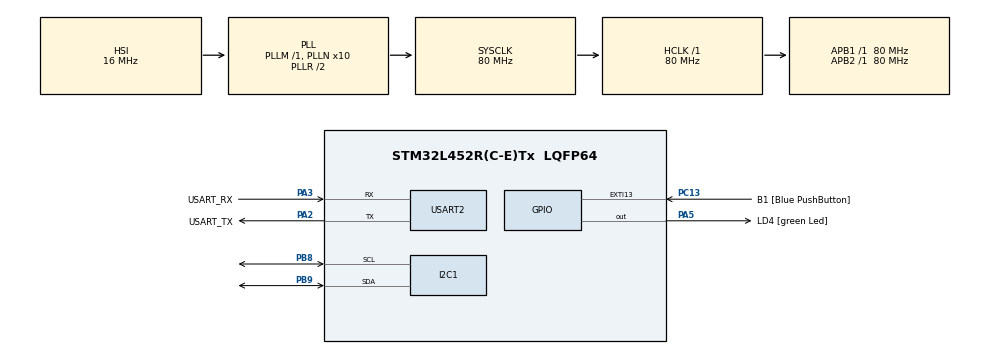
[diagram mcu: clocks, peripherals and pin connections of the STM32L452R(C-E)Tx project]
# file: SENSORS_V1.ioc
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Mcu.Family=STM32L4
Mcu.Name=STM32L452R(C-E)Tx
Mcu.Package=LQFP64
NVIC.PriorityGroup=NVIC_PRIORITYGROUP_4
PA13\ (JTMS/SWDIO).GPIO_Label=TMS
PA13\ (JTMS/SWDIO).Mode=Serial_Wire
PA13\ (JTMS/SWDIO).Signal=SYS_JTMS-SWDIO
PA14\ (JTCK/SWCLK).GPIO_Label=TCK
PA14\ (JTCK/SWCLK).Mode=Serial_Wire
PA14\ (JTCK/SWCLK).Signal=SYS_JTCK-SWCLK
PA2.GPIO_Label=USART_TX
PA2.GPIO_Mode=GPIO_MODE_AF_PP
PA2.GPIO_PuPd=GPIO_NOPULL
PA2.GPIO_Speed=GPIO_SPEED_FREQ_VERY_HIGH
PA2.Mode=Asynchronous
PA2.Signal=USART2_TX
PA3.GPIO_Label=USART_RX
PA3.GPIO_Mode=GPIO_MODE_AF_PP
PA3.GPIO_PuPd=GPIO_NOPULL
PA3.GPIO_Speed=GPIO_SPEED_FREQ_VERY_HIGH
PA3.Mode=Asynchronous
PA3.Signal=USART2_RX
PA5.GPIO_Label=LD4 [green Led]
PA5.GPIO_ModeDefaultOutputPP=GPIO_MODE_OUTPUT_PP
PA5.GPIO_PuPd=GPIO_NOPULL
PA5.GPIO_Speed=GPIO_SPEED_FREQ_LOW
PA5.Signal=GPIO_Output
PB3\ (JTDO/TRACESWO).GPIO_Label=SWO
PB3\ (JTDO/TRACESWO).Signal=SYS_JTDO-SWO
PB8.Mode=I2C
PB8.Signal=I2C1_SCL
PB9.Mode=I2C
PB9.Signal=I2C1_SDA
PC13.GPIO_Label=B1 [Blue PushButton]
PC13.GPIO_ModeDefaultEXTI=GPIO_MODE_IT_FALLING
PC13.GPIO_PuPd=GPIO_NOPULL
PC13.Signal=GPXTI13
PC14-OSC32_IN\ (PC14).Mode=LSE-External-Oscillator
PC14-OSC32_IN\ (PC14).Signal=RCC_OSC32_IN
PC15-OSC32_OUT\ (PC15).Mode=LSE-External-Oscillator
PC15-OSC32_OUT\ (PC15).Signal=RCC_OSC32_OUT
PH0-OSC_IN\ (PH0).Signal=RCC_OSC_IN
PH1-OSC_OUT\ (PH1).Signal=RCC_OSC_OUT
ProjectManager.HeapSize=0x200
ProjectManager.StackSize=0x400
ProjectManager.TargetToolchain=TrueSTUDIO
RCC.ADCFreq_Value=64000000
RCC.AHBFreq_Value=80000000
RCC.APB1Freq_Value=80000000
RCC.APB1TimFreq_Value=80000000
RCC.APB2Freq_Value=80000000
RCC.APB2TimFreq_Value=80000000
RCC.CortexFreq_Value=80000000
RCC.HCLKFreq_Value=80000000
RCC.HSE_VALUE=8000000
RCC.HSI48_VALUE=48000000
RCC.HSI_VALUE=16000000
RCC.MSI_VALUE=4000000
RCC.PLLN=10
RCC.PLLSourceVirtual=RCC_PLLSOURCE_HSI
RCC.PREFETCH_ENABLE=1
RCC.SYSCLKFreq_VALUE=80000000
RCC.SYSCLKSource=RCC_SYSCLKSOURCE_PLLCLK
RCC.USBFreq_Value=64000000
RCC.VCOOutputFreq_Value=160000000
USART2.VirtualMode-Asynchronous=VM_ASYNC
board=NUCLEO-L452RE

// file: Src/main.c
/**
  ******************************************************************************
  * @file           : main.c
  * @brief          : Main program body
  ******************************************************************************
  ** This notice applies to any and all portions of this file
  * that are not between comment pairs USER CODE BEGIN and
  * USER CODE END. Other portions of this file, whether
  * inserted by the user or by software development tools
  * are owned by their respective copyright owners.
  *
  * COPYRIGHT(c) 2019 STMicroelectronics
  *
  * Redistribution and use in source and binary forms, with or without modification,
  * are permitted provided that the following conditions are met:
  *   1. Redistributions of source code must retain the above copyright notice,
  *      this list of conditions and the following disclaimer.
  *   2. Redistributions in binary form must reproduce the above copyright notice,
  *      this list of conditions and the following disclaimer in the documentation
  *      and/or other materials provided with the distribution.
  *   3. Neither the name of STMicroelectronics nor the names of its contributors
  *      may be used to endorse or promote products derived from this software
  *      without specific prior written permission.
  *
  * THIS SOFTWARE IS PROVIDED BY THE COPYRIGHT HOLDERS AND CONTRIBUTORS "AS IS"
  * AND ANY EXPRESS OR IMPLIED WARRANTIES, INCLUDING, BUT NOT LIMITED TO, THE
  * IMPLIED WARRANTIES OF MERCHANTABILITY AND FITNESS FOR A PARTICULAR PURPOSE ARE
  * DISCLAIMED. IN NO EVENT SHALL THE COPYRIGHT HOLDER OR CONTRIBUTORS BE LIABLE
  * FOR ANY DIRECT, INDIRECT, INCIDENTAL, SPECIAL, EXEMPLARY, OR CONSEQUENTIAL
  * DAMAGES (INCLUDING, BUT NOT LIMITED TO, PROCUREMENT OF SUBSTITUTE GOODS OR
  * SERVICES; LOSS OF USE, DATA, OR PROFITS; OR BUSINESS INTERRUPTION) HOWEVER
  * CAUSED AND ON ANY THEORY OF LIABILITY, WHETHER IN CONTRACT, STRICT LIABILITY,
  * OR TORT (INCLUDING NEGLIGENCE OR OTHERWISE) ARISING IN ANY WAY OUT OF THE USE
  * OF THIS SOFTWARE, EVEN IF ADVISED OF THE POSSIBILITY OF SUCH DAMAGE.
  *
  ******************************************************************************
  */
#include "main.h"
#include "stm32l4xx_hal.h"
#include "i2c.h"
#include "usart.h"
#include "gpio.h"

/* USER CODE BEGIN PV */
/* Private variables ---------------------------------------------------------*/
//TEMPERATURE & HUMIDITY SENSOR
uint8_t addr_sensor[1]={0xBE};

//TEMPERATURE
uint8_t addr_T0_degC_x8[1]={0x32};
uint8_t T0_degC_x8[1]={0x00};
uint8_t addr_T1_degC_x8[1]={0x33};
uint8_t T1_degC_x8[1]={0x00};

uint8_t addr_MSB[1]={0x35};
uint8_t MSB[1]={0x00};

int16_t T0_degC_x8_u16[1]={0x00};;
int16_t T1_degC_x8_u16[1]={0x00};;
int16_t T0_DegC[1]={0x00};
int16_t T1_DegC[1]={0x00};

uint8_t addr_T0_OUT_L[1]={0x3C};
uint8_t T0_OUT_L[1]={0x00};
uint8_t addr_T0_OUT_H[1]={0x3D};
uint8_t T0_OUT_H[1]={0x00};
int16_t T0_OUT[1]={0x00};

uint8_t addr_T1_OUT_L[1]={0x3E};
uint8_t T1_OUT_L[1]={0x00};
uint8_t addr_T1_OUT_H[1]={0x3F};
uint8_t T1_OUT_H[1]={0x00};
int16_t T1_OUT[1]={0x00};

uint8_t addr_T_OUT_L[1]={0x2A};
uint8_t T_OUT_L[1]={0x00};
uint8_t addr_T_OUT_H[1]={0x2B};
uint8_t T_OUT_H[1]={0x00};
int16_t T_OUT[1]={0x00};

int32_t temp32;
int16_t temp_value;

//HUMIDITY
uint8_t H0_rH_x2[1]={0x00};
uint8_t addr_H0_rH_x2[1]={0x30};

uint8_t H1_rH_x2[1]={0x00};
uint8_t addr_H1_rH_x2[1]={0x31};
int16_t H0_rH;
int16_t H1_rH;

int16_t H_OUT;

uint8_t H0_T0_OUT_L[1]={0x00};
uint8_t addr_H0_T0_OUT_L[1]={0x36};

uint8_t H0_T0_OUT_H[1]={0x00};
uint8_t addr_H0_T0_OUT_H[1]={0x37};

int16_t H0_T0_OUT;

uint8_t H1_T0_OUT_L[1]={0x00};
uint8_t addr_H1_T0_OUT_L[1]={0x3A};

uint8_t H1_T0_OUT_H[1]={0x00};
uint8_t addr_H1_T0_OUT_H[1]={0x3B};

int16_t H1_T0_OUT;

uint8_t H_T0_OUT_L[1]={0x00};
uint8_t addr_H_T0_OUT_L[1]={0x28};

uint8_t H_T0_OUT_H[1]={0x00};
uint8_t addr_H_T0_OUT_H[1]={0x29};

int16_t H_T0_OUT;

int32_t hum;

int16_t value_hum;

//PRESSURE SENSOR
uint8_t addr_sensor_press[1]={0xBA};
//uint8_t addr_CTRL_REG2[1]={0x11}; //METTRE A 1 ?

uint8_t addr_REF_P_H[1]={0x17};
uint8_t REF_P_H[1]={0x00};
uint8_t addr_REF_P_L[1]={0x16};
uint8_t REF_P_L[1]={0x00};
uint8_t addr_REF_P_XL[1]={0x15};
uint8_t REF_P_XL[1]={0x00};

int32_t REF_P;

uint8_t addr_PRESS_OUT_H[1]={0x2A};
uint8_t P_OUT_H[1]={0x00};
uint8_t addr_PRESS_OUT_L[1]={0x29};
uint8_t P_OUT_L[1]={0x00};
uint8_t addr_PRESS_OUT_XL[1]={0x28};
uint8_t P_OUT_XL[1]={0x00};

int32_t P_OUT;

int32_t press32;
int16_t value_press;
/* USER CODE END PV */

void SystemClock_Config(void);

/* USER CODE BEGIN PFP */
/* Private function prototypes -----------------------------------------------*/
void get_register(uint8_t addr_sensor[], uint8_t addr_register[], uint8_t data_register[]);
void get_temp(void);
void get_hum(void);
void get_press(void);
/* USER CODE END PFP */

int main(void)
{

  /* MCU Configuration----------------------------------------------------------*/

  /* Reset of all peripherals, Initializes the Flash interface and the Systick. */
  HAL_Init();

  /* Configure the system clock */
  SystemClock_Config();

  /* Initialize all configured peripherals */
  MX_GPIO_Init();
  MX_USART2_UART_Init();
  MX_I2C1_Init();

  /* Infinite loop */
  /* USER CODE BEGIN WHILE */
  while (1)
  {
	  get_temp();

	  get_hum();

	  get_press();
  /* USER CODE END WHILE */

  }

}

void SystemClock_Config(void)
{

  RCC_OscInitTypeDef RCC_OscInitStruct;
  RCC_ClkInitTypeDef RCC_ClkInitStruct;
  RCC_PeriphCLKInitTypeDef PeriphClkInit;

    /**Initializes the CPU, AHB and APB busses clocks
    */
  RCC_OscInitStruct.OscillatorType = RCC_OSCILLATORTYPE_HSI;
  RCC_OscInitStruct.HSIState = RCC_HSI_ON;
  RCC_OscInitStruct.HSICalibrationValue = 16;
  RCC_OscInitStruct.PLL.PLLState = RCC_PLL_ON;
  RCC_OscInitStruct.PLL.PLLSource = RCC_PLLSOURCE_HSI;
  RCC_OscInitStruct.PLL.PLLM = 1;
  RCC_OscInitStruct.PLL.PLLN = 10;
  RCC_OscInitStruct.PLL.PLLP = RCC_PLLP_DIV7;
  RCC_OscInitStruct.PLL.PLLQ = RCC_PLLQ_DIV2;
  RCC_OscInitStruct.PLL.PLLR = RCC_PLLR_DIV2;
  if (HAL_RCC_OscConfig(&RCC_OscInitStruct) != HAL_OK)
  {
    _Error_Handler(__FILE__, __LINE__);
  }

    /**Initializes the CPU, AHB and APB busses clocks
    */
  RCC_ClkInitStruct.ClockType = RCC_CLOCKTYPE_HCLK|RCC_CLOCKTYPE_SYSCLK
                              |RCC_CLOCKTYPE_PCLK1|RCC_CLOCKTYPE_PCLK2;
  RCC_ClkInitStruct.SYSCLKSource = RCC_SYSCLKSOURCE_PLLCLK;
  RCC_ClkInitStruct.AHBCLKDivider = RCC_SYSCLK_DIV1;
  RCC_ClkInitStruct.APB1CLKDivider = RCC_HCLK_DIV1;
  RCC_ClkInitStruct.APB2CLKDivider = RCC_HCLK_DIV1;

  if (HAL_RCC_ClockConfig(&RCC_ClkInitStruct, FLASH_LATENCY_4) != HAL_OK)
  {
    _Error_Handler(__FILE__, __LINE__);
  }

  PeriphClkInit.PeriphClockSelection = RCC_PERIPHCLK_USART2|RCC_PERIPHCLK_I2C1;
  PeriphClkInit.Usart2ClockSelection = RCC_USART2CLKSOURCE_PCLK1;
  PeriphClkInit.I2c1ClockSelection = RCC_I2C1CLKSOURCE_PCLK1;
  if (HAL_RCCEx_PeriphCLKConfig(&PeriphClkInit) != HAL_OK)
  {
    _Error_Handler(__FILE__, __LINE__);
  }

    /**Configure the main internal regulator output voltage
    */
  if (HAL_PWREx_ControlVoltageScaling(PWR_REGULATOR_VOLTAGE_SCALE1) != HAL_OK)
  {
    _Error_Handler(__FILE__, __LINE__);
  }

    /**Configure the Systick interrupt time
    */
  HAL_SYSTICK_Config(HAL_RCC_GetHCLKFreq()/1000);

    /**Configure the Systick
    */
  HAL_SYSTICK_CLKSourceConfig(SYSTICK_CLKSOURCE_HCLK);

  /* SysTick_IRQn interrupt configuration */
  HAL_NVIC_SetPriority(SysTick_IRQn, 0, 0);
}

/* USER CODE BEGIN 4 */
void get_register(uint8_t addr_sensor[], uint8_t addr_register[], uint8_t data_register[]){

	  while(HAL_I2C_Master_Transmit(&hi2c1, addr_sensor[0], addr_register, 1, HAL_TIMEOUT) != HAL_OK);
	  while(HAL_I2C_Master_Receive(&hi2c1, addr_sensor[0], data_register, 1, HAL_TIMEOUT) != HAL_OK);
	  HAL_Delay(100);
}

void get_temp(void){

	// read register T0_degC_x8
	get_register(addr_sensor, addr_T0_degC_x8, T0_degC_x8);
	// read register T1_degC_x8
	get_register(addr_sensor, addr_T1_degC_x8, T1_degC_x8);
	// Read register MSB
	get_register(addr_sensor, addr_MSB, MSB);

	T0_degC_x8_u16[0] = (((uint16_t)(MSB[0] & 0x03)) << 8) + ((uint16_t)T0_degC_x8[0]);

	T1_degC_x8_u16[0] = (((uint16_t)(MSB[0] & 0x0C)) << 6) + ((uint16_t)T1_degC_x8[0]);

	T0_DegC[0] = T0_degC_x8_u16[0] >> 3;

	T1_DegC[0] = T1_degC_x8_u16[0] >> 3;

	// Read register T0_OUT_L
	get_register(addr_sensor, addr_T0_OUT_L, T0_OUT_L);
	// Read register T0_OUT_H
	get_register(addr_sensor, addr_T0_OUT_H, T0_OUT_H);

	  T0_OUT[0] = (((uint16_t)T0_OUT_H[0])<<8) + (uint16_t)T0_OUT_L[0];

	// Read register T1_OUT_L
	get_register(addr_sensor, addr_T1_OUT_L, T1_OUT_L);
	// Read register T1_OUT_H
	get_register(addr_sensor, addr_T1_OUT_H, T1_OUT_H);

	T1_OUT[0] = (((uint16_t)T1_OUT_H[0])<<8) + (uint16_t)T1_OUT_L[0];

	// Read register T_OUT_L
	get_register(addr_sensor, addr_T_OUT_L, T_OUT_L);
	// Read register T_OUT_H
	get_register(addr_sensor, addr_T_OUT_H, T_OUT_H);

	  T_OUT[0]=(((uint16_t)T_OUT_H[0])<<8) + (uint16_t)T_OUT_L[0];

	  temp32= (int32_t)(T1_DegC[0]-T0_DegC[0])*(T_OUT[0]-T0_OUT[0]);
	  temp_value = (int16_t)(temp32/(T1_OUT[0] - T0_OUT[0])) + T0_DegC[0];

}

void get_hum(void){

	get_register(addr_sensor, addr_H0_rH_x2, H0_rH_x2);

	get_register(addr_sensor, addr_H1_rH_x2, H1_rH_x2);

	H0_rH= H0_rH_x2[0]>>2;
	H1_rH= H1_rH_x2[0]>>2;

	get_register(addr_sensor, addr_H0_T0_OUT_L, H0_T0_OUT_L);

	get_register(addr_sensor, addr_H0_T0_OUT_H, H0_T0_OUT_H);

	H0_T0_OUT = (H0_T0_OUT_H[0]<<8) + H0_T0_OUT_L[0];

	get_register(addr_sensor, addr_H1_T0_OUT_L, H1_T0_OUT_L);

	get_register(addr_sensor, addr_H1_T0_OUT_H, H1_T0_OUT_H);

	H1_T0_OUT = (H1_T0_OUT_H[0]<<8) + H1_T0_OUT_L[0];

	get_register(addr_sensor, addr_H_T0_OUT_L, H_T0_OUT_L);

	get_register(addr_sensor, addr_H_T0_OUT_H, H_T0_OUT_H);

	H_T0_OUT = (H_T0_OUT_H[0]<<8) + H_T0_OUT_L[0];

	hum = (H1_rH-H0_rH)*(H_T0_OUT-H0_T0_OUT);
	value_hum = (hum/(H1_T0_OUT-H0_T0_OUT))+H0_rH;

}

void get_press(void){
	get_register(addr_sensor_press, addr_REF_P_H, REF_P_H);
	get_register(addr_sensor_press, addr_REF_P_L, REF_P_L);
	get_register(addr_sensor_press, addr_REF_P_XL, REF_P_XL);

	REF_P =  ( ((REF_P_H[0]+0x10)<<16) + (REF_P_L[0]<<8) + (REF_P_XL[0]) );

	get_register(addr_sensor_press, addr_PRESS_OUT_H, P_OUT_H);
	get_register(addr_sensor_press, addr_PRESS_OUT_L, P_OUT_L);
	get_register(addr_sensor_press, addr_PRESS_OUT_XL, P_OUT_XL);

	//Avec OFFSET Manuel
	//P_OUT = ( ((P_OUT_H[0]+0x10)<<16) + (P_OUT_L[0]<<8) + (P_OUT_XL[0]) );
	//Sans offset
	P_OUT = ( ((P_OUT_H[0])<<16) + (P_OUT_L[0]<<8) + (P_OUT_XL[0]) );
	//Probleme d'offset : verifier avec la valeur de reference si elle n'en est pas a l'origine
	press32 = P_OUT + REF_P;

	value_press = press32/4096;

}
/* USER CODE END 4 */

void _Error_Handler(char *file, int line)
{
  while(1)
  {
  }
}

/************************ (C) COPYRIGHT STMicroelectronics *****END OF FILE****/
